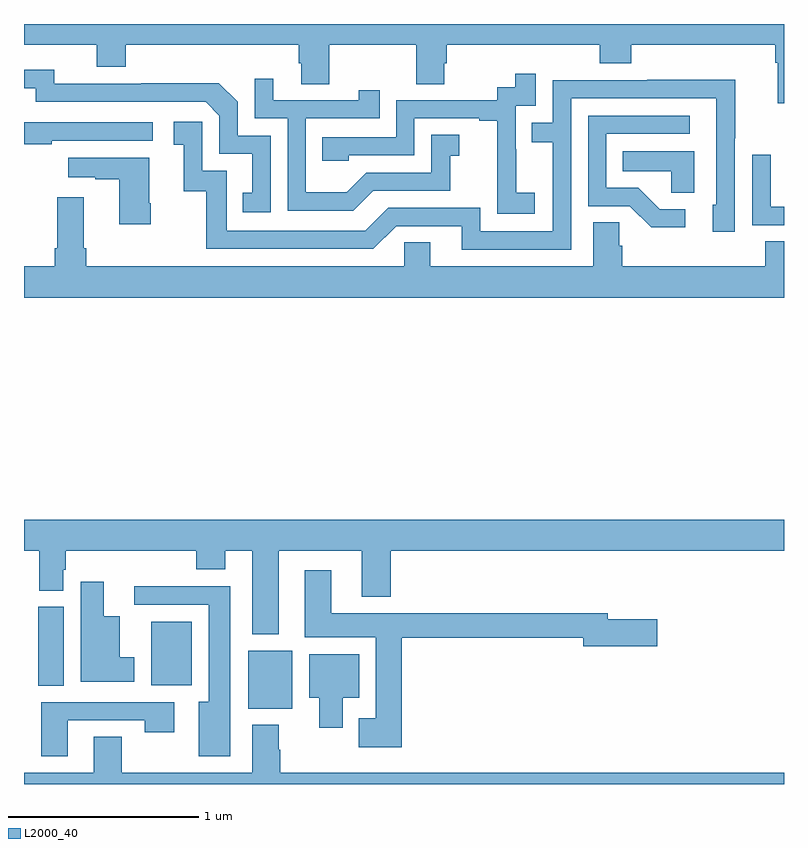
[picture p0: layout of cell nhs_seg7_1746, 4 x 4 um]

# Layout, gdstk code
import gdstk
lib = gdstk.Library(unit=1e-6, precision=1e-09)
def R(c, l, rs):  # rectangles x0, y0, x1, y1
    for r in rs: c.add(gdstk.rectangle(r[:2], r[2:], *l))
def P(c, l, *ps):  # polygons
    for p in ps: c.add(gdstk.Polygon(p, *l))
L2000_40 = (2000, 40)

nhs_seg7_1746 = lib.new_cell('nhs_seg7_1746')
R(nhs_seg7_1746, L2000_40, [(230.18,1054.397,230.413,1054.702), (229.076,1054.516,229.21,1054.932), (229.67,1054.52,229.882,1054.855)])
P(nhs_seg7_1746, L2000_40, [(229,1057.892),(229.382,1057.892),(229.382,1057.775),(229.535,1057.775),(229.535,1057.892),(230.447,1057.892),(230.447,1057.794),(230.459,1057.794),(230.459,1057.684),(230.607,1057.684),(230.607,1057.892),(231.064,1057.892),(231.064,1057.684),(231.211,1057.684),(231.211,1057.794),(231.224,1057.794),(231.224,1057.892),(232.031,1057.892),(232.031,1057.793),(232.196,1057.793),(232.196,1057.892),(232.955,1057.892),(232.955,1057.796),(232.967,1057.796),(232.967,1057.583),(233,1057.583),(233,1058),(229,1058)],
  [(230.298,1057.413),(230.124,1057.413),(230.124,1057.59),(230.026,1057.688),(229.618,1057.688),(229.618,1057.686),(229.158,1057.686),(229.158,1057.759),(229,1057.759),(229,1057.662),(229.062,1057.662),(229.062,1057.59),(229.956,1057.59),(230.028,1057.518),(230.028,1057.317),(230.201,1057.317),(230.201,1057.113),(230.152,1057.113),(230.152,1057.008),(230.298,1057.008)],
  [(231.688,1057.111),(231.59,1057.111),(231.59,1057.34),(231.588,1057.34),(231.588,1057.569),(231.693,1057.569),(231.693,1057.738),(231.585,1057.738),(231.585,1057.668),(231.492,1057.668),(231.492,1057.599),(230.958,1057.599),(230.958,1057.404),(230.569,1057.404),(230.569,1057.281),(230.709,1057.281),(230.709,1057.308),(231.054,1057.308),(231.054,1057.503),(231.395,1057.503),(231.395,1057.491),(231.491,1057.491),(231.491,1057.207),(231.49,1057.207),(231.49,1057.001),(231.688,1057.001)],
  [(230.839,1057.122),(231.243,1057.122),(231.243,1057.307),(231.292,1057.307),(231.292,1057.417),(231.144,1057.417),(231.144,1057.218),(230.802,1057.218),(230.698,1057.114),(230.484,1057.114),(230.484,1057.503),(230.873,1057.503),(230.873,1057.651),(230.762,1057.651),(230.762,1057.599),(230.311,1057.599),(230.311,1057.711),(230.214,1057.711),(230.214,1057.503),(230.388,1057.503),(230.388,1057.017),(230.734,1057.017)],
  [(231.879,1057.608),(232.644,1057.608),(232.644,1057.05),(232.625,1057.05),(232.625,1056.906),(232.74,1056.906),(232.74,1057.399),(232.743,1057.399),(232.743,1057.706),(232.279,1057.706),(232.279,1057.704),(231.783,1057.704),(231.783,1057.479),(231.673,1057.479),(231.673,1057.378),(231.783,1057.378),(231.783,1056.909),(231.402,1056.909),(231.402,1057.032),(230.916,1057.032),(230.796,1056.912),(230.067,1056.912),(230.067,1057.227),(229.938,1057.227),(229.938,1057.486),(229.788,1057.486),(229.788,1057.365),(229.841,1057.365),(229.841,1057.119),(229.959,1057.119),(229.959,1056.816),(230.838,1056.816),(230.958,1056.936),(231.305,1056.936),(231.305,1056.813),(231.879,1056.813)],
  [(232.48,1057.026),(232.345,1057.026),(232.234,1057.137),(232.065,1057.137),(232.065,1057.422),(232.504,1057.422),(232.504,1057.518),(231.969,1057.518),(231.969,1057.041),(232.188,1057.041),(232.301,1056.929),(232.48,1056.929)],
  [(229.145,1057.386),(229.678,1057.386),(229.678,1057.482),(229,1057.482),(229,1057.366),(229.145,1057.366)],
  [(232.528,1057.33),(232.15,1057.33),(232.15,1057.226),(232.407,1057.226),(232.407,1057.111),(232.528,1057.111)],
  [(233,1057.038),(232.929,1057.038),(232.929,1057.312),(232.833,1057.312),(232.833,1056.942),(233,1056.942)],
  [(229.668,1057.057),(229.66,1057.057),(229.66,1057.297),(229.233,1057.297),(229.233,1057.193),(229.376,1057.193),(229.376,1057.183),(229.502,1057.183),(229.502,1056.945),(229.668,1056.945)],
  [(233,1056.857),(232.901,1056.857),(232.901,1056.724),(232.148,1056.724),(232.148,1056.833),(232.134,1056.833),(232.134,1056.956),(231.995,1056.956),(231.995,1056.724),(231.139,1056.724),(231.139,1056.851),(231,1056.851),(231,1056.724),(229.328,1056.724),(229.328,1056.82),(229.315,1056.82),(229.315,1057.087),(229.175,1057.087),(229.175,1056.82),(229.163,1056.82),(229.163,1056.724),(229,1056.724),(229,1056.56),(233,1056.56)],
  [(230.341,1055.228),(230.777,1055.228),(230.777,1054.985),(230.93,1054.985),(230.93,1055.228),(233,1055.228),(233,1055.392),(229,1055.392),(229,1055.228),(229.079,1055.228),(229.079,1055.017),(229.207,1055.017),(229.207,1055.127),(229.22,1055.127),(229.22,1055.228),(229.907,1055.228),(229.907,1055.129),(230.059,1055.129),(230.059,1055.228),(230.201,1055.228),(230.201,1054.787),(230.341,1054.787)],
  [(230.987,1054.771),(231.944,1054.771),(231.944,1054.724),(232.333,1054.724),(232.333,1054.866),(232.072,1054.866),(232.072,1054.9),(230.617,1054.9),(230.617,1055.125),(230.477,1055.125),(230.477,1054.772),(230.852,1054.772),(230.852,1054.345),(230.762,1054.345),(230.762,1054.193),(230.987,1054.193)],
  [(229.579,1054.666),(229.504,1054.666),(229.504,1054.882),(229.42,1054.882),(229.42,1055.065),(229.298,1055.065),(229.298,1054.538),(229.579,1054.538)],
  [(230.086,1055.042),(229.581,1055.042),(229.581,1054.944),(229.973,1054.944),(229.973,1054.432),(229.919,1054.432),(229.919,1054.146),(230.086,1054.146)],
  [(230.677,1054.454),(230.764,1054.454),(230.764,1054.684),(230.501,1054.684),(230.501,1054.454),(230.555,1054.454),(230.555,1054.296),(230.677,1054.296)],
  [(229.231,1054.335),(229.636,1054.335),(229.636,1054.272),(229.792,1054.272),(229.792,1054.431),(229.091,1054.431),(229.091,1054.146),(229.231,1054.146)],
  [(233,1054.06),(230.349,1054.06),(230.349,1054.181),(230.341,1054.181),(230.341,1054.312),(230.201,1054.312),(230.201,1054.06),(229.515,1054.06),(229.515,1054.25),(229.367,1054.25),(229.367,1054.06),(229,1054.06),(229,1054),(233,1054)])

lib.write_gds('nhs_seg7_1746.gds')
